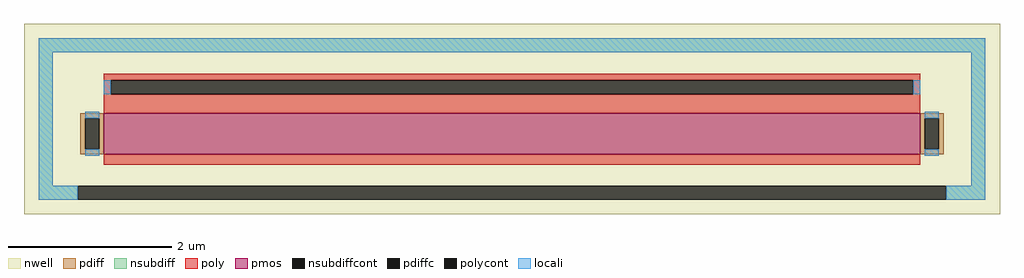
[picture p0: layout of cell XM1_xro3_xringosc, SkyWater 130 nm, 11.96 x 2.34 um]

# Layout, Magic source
magic
tech sky130A
magscale 1 2
<< nwell >>
rect -1196 -234 1196 234
<< pmos >>
rect -1000 -86 1000 14
<< pdiff >>
rect -1058 2 -1000 14
rect -1058 -74 -1046 2
rect -1012 -74 -1000 2
rect -1058 -86 -1000 -74
rect 1000 2 1058 14
rect 1000 -74 1012 2
rect 1046 -74 1058 2
rect 1000 -86 1058 -74
<< pdiffc >>
rect -1046 -74 -1012 2
rect 1012 -74 1046 2
<< nsubdiff >>
rect -1160 164 1160 198
rect -1160 -164 -1126 164
rect 1126 -164 1160 164
rect -1160 -198 -1064 -164
rect 1064 -198 1160 -164
<< nsubdiffcont >>
rect -1064 -198 1064 -164
<< poly >>
rect -1000 95 1000 111
rect -1000 61 -984 95
rect 984 61 1000 95
rect -1000 14 1000 61
rect -1000 -112 1000 -86
<< polycont >>
rect -984 61 984 95
<< locali >>
rect -1160 164 1160 198
rect -1160 -164 -1126 164
rect -1000 61 -984 95
rect 984 61 1000 95
rect -1046 2 -1012 18
rect -1046 -90 -1012 -74
rect 1012 2 1046 18
rect 1012 -90 1046 -74
rect 1126 -164 1160 164
rect -1160 -198 -1064 -164
rect 1064 -198 1160 -164
<< properties >>
string FIXED_BBOX -1143 -181 1143 181
<< end >>
